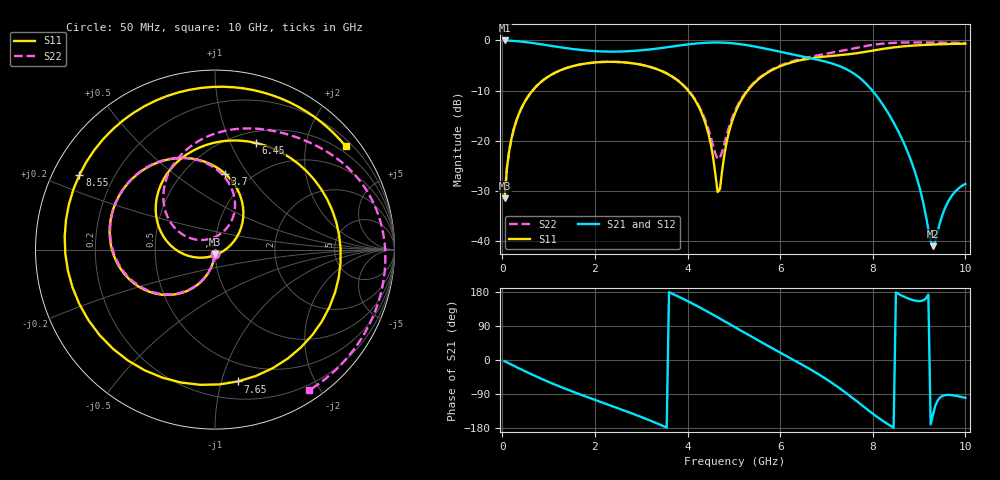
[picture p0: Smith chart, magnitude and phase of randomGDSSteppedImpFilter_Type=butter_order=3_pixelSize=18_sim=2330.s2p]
! freq	dB(S11)	phase(S11)	dB(S12)	phase(S12)
!  dB(S21)	phase(S21)	dB(S22)	phase(S22)
!S-par simulation data
#  GHz  S  DB  R 50
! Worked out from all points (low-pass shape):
!   200 points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, 50 MHz to 10 GHz, reference 50 ohm
!   highest |S21| = -0.01 dB at 50 MHz (marker M1); lowest = -41.0 dB at 9.3 GHz (marker M2)
!   |S21| within 3 dB of the highest: start of sweep to 6.382 GHz
!   lowest |S11| = -31.4 dB at 50 MHz (marker M3), VSWR 1.06, Z = 49.8 - j2.67 ohm
!   |S11| at or under -10 dB: start of sweep to 651.8 MHz; 4.014 GHz to 5.298 GHz (1.284 GHz wide, 27.6 % of centre)
!   |S22| runs from -31.4 to -0.4 dB; largest |S21 - S12| = 0
!   S11 on the Smith chart (normalised r, x): 50 MHz: 1.00, -0.05; 3.7 GHz: 0.77, +0.79; 6.45 GHz: 0.63, +1.25; 7.65 GHz: 0.34, -1.13; 8.55 GHz: 0.08, +0.26; 10 GHz: 0.34, +2.84
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0.05  -31.43 -93.2  -0.01 -3.1  -0.01 -3.1  -31.43 -93.2
0.2  -19.51 -102.7  -0.07 -12.3  -0.07 -12.3  -19.51 -102.9
0.5  -11.99 -120.6  -0.33 -30.2  -0.33 -30.2  -11.99 -121.1
1.05  -6.88 -150.5  -1.08 -60.4  -1.08 -60.4  -6.88 -151.5
1.75  -4.68 176.3  -1.94 -94.0  -1.94 -94.0  -4.68 174.8
3.4  -5.94 99.4  -1.56 -170.4  -1.56 -170.4  -5.92 100.5
3.7  -7.40 82.4  -1.18 173.3  -1.18 173.3  -7.35 85.8
4.35  -15.53 35.6  -0.49 133.1  -0.49 133.1  -15.08 60.0
4.65  -30.22 -45.9  -0.41 112.6  -0.41 112.6  -23.62 100.5
5.05  -13.96 -176.5  -0.64 84.5  -0.64 84.5  -13.56 154.5
5.7  -6.58 130.3  -1.67 39.8  -1.67 39.8  -6.44 124.8
6.45  -3.92 69.0  -3.14 -10.5  -3.14 -10.5  -3.68 87.8
6.7  -3.52 45.3  -3.62 -28.1  -3.62 -28.1  -3.18 76.6
7.2  -3.02 -12.7  -4.84 -67.3  -4.84 -67.3  -2.32 56.0
7.65  -2.55 -80.1  -6.98 -108.4  -6.98 -108.4  -1.47 37.8
7.95  -2.10 -128.1  -9.56 -137.0  -9.56 -137.0  -0.95 24.7
8.35  -1.51 175.0  -14.74 -171.3  -14.74 -171.3  -0.54 6.7
8.55  -1.28 151.2  -18.10 174.5  -18.10 174.5  -0.45 -2.0
8.9  -1.01 116.2  -25.90 157.0  -25.90 157.0  -0.39 -16.3
9.3  -0.82 83.7  -41.00 -144.3  -41.00 -144.3  -0.41 -31.6
9.6  -0.72 62.9  -32.62 -92.2  -32.62 -92.2  -0.44 -42.4
10  -0.65 38.4  -28.60 -99.9  -28.60 -99.9  -0.51 -56.1
